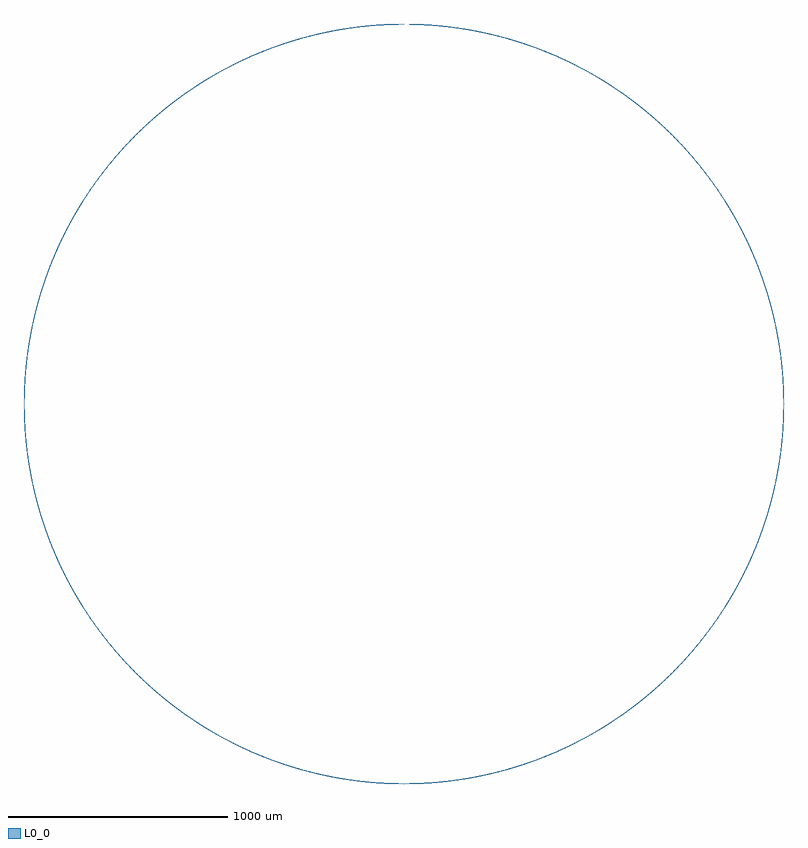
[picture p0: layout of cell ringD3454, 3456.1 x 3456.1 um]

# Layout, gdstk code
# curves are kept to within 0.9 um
import gdstk
lib = gdstk.Library(unit=1e-6, precision=1e-09)
def P(c, l, *ps):  # polygons
    for p in ps: c.add(gdstk.Polygon(p, *l))
L0_0 = (0, 0)

ringd3454 = lib.new_cell('ringD3454')
P(ringd3454, L0_0, [(-1728.049,0),(-1727.585,-40.045),(-1726.236,-79.161),(-1723.843,-120.513),(-1720.55,-160.829),(-1715.357,-209.061),(-1709.011,-255.808),(-1702.104,-298.325),(-1699.972,-298.325),(-1705.576,-264.411),(-1710.598,-229.693),(-1714.995,-194.15),(-1718.44,-160.829),(-1721.737,-120.513),(-1724.134,-79.161),(-1725.485,-40.045),(-1725.95,0)],
  [(-1702.104,-298.325),(-1695.965,-331.452),(-1688.743,-366.474),(-1680.971,-400.616),(-1672.031,-436.428),(-1660.447,-478.616),(-1647.392,-521.783),(-1639.818,-545.117),(-1637.605,-545.117),(-1646.679,-517.062),(-1654.708,-490.76),(-1662.442,-463.886),(-1669.861,-436.428),(-1678.192,-403.207),(-1686.015,-369.131),(-1693.289,-334.178),(-1699.972,-298.325)],
  [(-1639.818,-545.117),(-1629.659,-574.776),(-1619.171,-603.692),(-1607.537,-634.02),(-1595.583,-663.53),(-1578.898,-702.309),(-1560.828,-741.602),(-1557.158,-749.277),(-1554.827,-749.277),(-1574.812,-706.307),(-1593.308,-663.53),(-1605.279,-634.02),(-1616.929,-603.692),(-1627.432,-574.776),(-1637.605,-545.117)],
  [(-1557.158,-749.277),(-1544.178,-775.675),(-1531.006,-801.36),(-1517.662,-826.352),(-1503.198,-852.38),(-1483.68,-885.919),(-1463.94,-918.171),(-1461.46,-918.171),(-1487.124,-875.995),(-1510.46,-835.113),(-1533.367,-792.268),(-1554.827,-749.277)],
  [(-1463.94,-918.171),(-1442.006,-952.249),(-1417.892,-987.795),(-1393.652,-1021.71),(-1367.314,-1056.698),(-1336.904,-1094.918),(-1304.538,-1133.286),(-1272.334,-1169.326),(-1269.481,-1169.326),(-1293.668,-1142.509),(-1317.957,-1114.402),(-1342.311,-1084.944),(-1364.659,-1056.698),(-1391.047,-1021.71),(-1415.332,-987.795),(-1439.488,-952.249),(-1461.46,-918.171)],
  [(-1272.334,-1169.326),(-1248.336,-1194.912),(-1222.524,-1221.308),(-1196.937,-1246.395),(-1169.667,-1272.021),(-1136.994,-1301.308),(-1102.973,-1330.266),(-1084.345,-1345.494),(-1080.995,-1345.494),(-1103.441,-1327.148),(-1126.165,-1307.921),(-1147.229,-1289.484),(-1168.505,-1270.236),(-1193.903,-1246.395),(-1219.553,-1221.308),(-1245.427,-1194.912),(-1269.481,-1169.326)],
  [(-1084.345,-1345.494),(-1060.433,-1364.42),(-1035.078,-1383.753),(-1010.149,-1402.055),(-985.655,-1419.381),(-949.749,-1443.654),(-914.861,-1466.011),(-910.889,-1466.011),(-949.313,-1441.427),(-985.454,-1416.964),(-1010.1,-1399.501),(-1033.372,-1382.407),(-1057.007,-1364.42),(-1080.995,-1345.494)],
  [(-914.861,-1466.011),(-880.998,-1486.608),(-846.572,-1506.478),(-813.285,-1524.706),(-778.262,-1542.877),(-736.352,-1563.313),(-693.89,-1582.618),(-663.525,-1595.587),(-658.037,-1595.587),(-688.644,-1582.618),(-717.802,-1569.608),(-748.036,-1555.426),(-776.472,-1541.427),(-811.809,-1523.113),(-845.375,-1504.742),(-876.871,-1486.608),(-910.889,-1466.011)],
  [(-663.525,-1595.587),(-632.023,-1608.325),(-601.929,-1619.829),(-571.043,-1630.974),(-541.681,-1640.96),(-500.368,-1654.026),(-460.384,-1665.599),(-453.44,-1667.502),(-445.37,-1667.502),(-493.067,-1654.026),(-541.187,-1638.911),(-571.217,-1628.688),(-600.459,-1618.135),(-628.653,-1607.391),(-658.037,-1595.587)],
  [(663.525,-1595.587),(632.023,-1608.325),(601.929,-1619.829),(571.043,-1630.974),(541.681,-1640.96),(500.368,-1654.026),(460.384,-1665.599),(453.44,-1667.502),(445.37,-1667.502),(493.067,-1654.026),(541.187,-1638.911),(571.217,-1628.688),(600.459,-1618.135),(628.653,-1607.391),(658.037,-1595.587)],
  [(914.861,-1466.011),(880.998,-1486.608),(846.572,-1506.478),(813.285,-1524.706),(778.262,-1542.877),(736.352,-1563.313),(693.89,-1582.618),(663.525,-1595.587),(658.037,-1595.587),(688.644,-1582.618),(717.802,-1569.608),(748.036,-1555.426),(776.472,-1541.427),(811.809,-1523.113),(845.375,-1504.742),(876.871,-1486.608),(910.889,-1466.011)],
  [(1084.345,-1345.494),(1060.433,-1364.42),(1035.078,-1383.753),(1010.149,-1402.055),(985.655,-1419.381),(949.749,-1443.654),(914.861,-1466.011),(910.889,-1466.011),(949.313,-1441.427),(985.454,-1416.964),(1010.1,-1399.501),(1033.372,-1382.407),(1057.007,-1364.42),(1080.995,-1345.494)],
  [(1272.334,-1169.326),(1248.336,-1194.912),(1222.524,-1221.308),(1196.937,-1246.395),(1169.667,-1272.021),(1136.994,-1301.308),(1102.973,-1330.266),(1084.345,-1345.494),(1080.995,-1345.494),(1103.441,-1327.148),(1126.165,-1307.921),(1147.229,-1289.484),(1168.505,-1270.236),(1193.903,-1246.395),(1219.553,-1221.308),(1245.427,-1194.912),(1269.481,-1169.326)],
  [(1463.94,-918.171),(1442.006,-952.249),(1417.892,-987.795),(1393.652,-1021.71),(1367.314,-1056.698),(1336.904,-1094.918),(1304.538,-1133.286),(1272.334,-1169.326),(1269.481,-1169.326),(1293.668,-1142.509),(1317.957,-1114.402),(1342.311,-1084.944),(1364.659,-1056.698),(1391.047,-1021.71),(1415.332,-987.795),(1439.488,-952.249),(1461.46,-918.171)],
  [(0,-1725.95),(-26.801,-1725.742),(-56.455,-1725.026),(-85.591,-1723.826),(-114.22,-1722.166),(-142.349,-1720.07),(-169.987,-1717.559),(-197.144,-1714.654),(-226.72,-1710.995),(-226.72,-1713.132),(-199.593,-1716.511),(-155.599,-1721.077),(-110.008,-1724.661),(-66.254,-1727),(-20.14,-1727.932),(0,-1728.049)],
  [(-226.72,-1710.995),(-275.805,-1703.771),(-323.816,-1695.31),(-353.75,-1689.316),(-383.158,-1682.889),(-414.818,-1675.365),(-445.37,-1667.502),(-453.44,-1667.502),(-420.266,-1676.172),(-389.543,-1683.578),(-355.69,-1691.055),(-324.883,-1697.245),(-281.746,-1704.939),(-237.662,-1711.647),(-226.72,-1713.132)],
  [(453.44,-1667.502),(445.37,-1667.502),(414.818,-1675.365),(383.158,-1682.889),(353.75,-1689.316),(323.816,-1695.31),(275.805,-1703.771),(226.72,-1710.995),(226.72,-1713.132),(255.827,-1709.024),(283.855,-1704.589),(312.887,-1699.498),(339.921,-1694.296),(369.411,-1688.11),(398.512,-1681.477),(426.699,-1674.545)],
  [(226.72,-1710.995),(179.093,-1716.633),(129.908,-1721.054),(98.377,-1723.144),(66.224,-1724.679),(33.436,-1725.626),(0,-1725.95),(0,-1728.049),(26.801,-1727.841),(66.254,-1727),(99.433,-1725.306),(125.666,-1723.555),(168.701,-1719.834),(211.425,-1715.09),(226.72,-1713.132)],
  [(1728.049,0),(1727.585,-40.045),(1726.236,-79.161),(1723.843,-120.513),(1720.55,-160.829),(1715.357,-209.061),(1709.011,-255.808),(1702.104,-298.325),(1699.972,-298.325),(1705.576,-264.411),(1710.598,-229.693),(1714.995,-194.15),(1718.44,-160.829),(1721.737,-120.513),(1724.134,-79.161),(1725.485,-40.045),(1725.95,0)],
  [(1728.049,0),(1727.585,40.045),(1726.236,79.161),(1723.843,120.513),(1720.55,160.829),(1715.357,209.061),(1709.011,255.808),(1702.104,298.325),(1699.972,298.325),(1705.576,264.411),(1710.598,229.693),(1714.995,194.15),(1718.44,160.829),(1721.737,120.513),(1724.134,79.161),(1725.485,40.045),(1725.95,0)],
  [(1702.104,298.325),(1695.965,331.452),(1688.743,366.474),(1680.971,400.616),(1672.031,436.428),(1660.447,478.616),(1647.392,521.783),(1639.818,545.117),(1637.605,545.117),(1646.679,517.062),(1654.708,490.76),(1662.442,463.886),(1669.861,436.428),(1678.192,403.207),(1686.015,369.131),(1693.289,334.178),(1699.972,298.325)],
  [(1639.818,545.117),(1629.659,574.776),(1619.171,603.692),(1607.537,634.02),(1595.583,663.53),(1578.898,702.309),(1560.828,741.602),(1557.158,749.277),(1554.827,749.277),(1574.812,706.307),(1593.308,663.53),(1605.279,634.02),(1616.929,603.692),(1627.432,574.776),(1637.605,545.117)],
  [(1557.158,749.277),(1544.178,775.675),(1531.006,801.36),(1517.662,826.352),(1503.198,852.38),(1483.68,885.919),(1463.94,918.171),(1461.46,918.171),(1487.124,875.995),(1510.46,835.113),(1533.367,792.268),(1554.827,749.277)],
  [(1463.94,918.171),(1442.006,952.249),(1417.892,987.795),(1393.652,1021.71),(1367.314,1056.698),(1336.904,1094.918),(1304.538,1133.286),(1272.334,1169.326),(1269.481,1169.326),(1293.668,1142.509),(1317.957,1114.402),(1342.311,1084.944),(1364.659,1056.698),(1391.047,1021.71),(1415.332,987.795),(1439.488,952.249),(1461.46,918.171)],
  [(1272.334,1169.326),(1248.336,1194.912),(1222.524,1221.308),(1196.937,1246.395),(1169.667,1272.021),(1136.994,1301.308),(1102.973,1330.266),(1084.345,1345.494),(1080.995,1345.494),(1103.441,1327.148),(1126.165,1307.921),(1147.229,1289.484),(1168.505,1270.236),(1193.903,1246.395),(1219.553,1221.308),(1245.427,1194.912),(1269.481,1169.326)],
  [(1084.345,1345.494),(1060.433,1364.42),(1035.078,1383.753),(1010.149,1402.055),(985.655,1419.381),(949.749,1443.654),(914.861,1466.011),(910.889,1466.011),(949.313,1441.427),(985.454,1416.964),(1010.1,1399.501),(1033.372,1382.407),(1057.007,1364.42),(1080.995,1345.494)],
  [(914.861,1466.011),(880.998,1486.608),(846.572,1506.478),(813.285,1524.706),(778.262,1542.877),(736.352,1563.313),(693.89,1582.618),(663.525,1595.587),(658.037,1595.587),(688.644,1582.618),(717.802,1569.608),(748.036,1555.426),(776.472,1541.427),(811.809,1523.113),(845.375,1504.742),(876.871,1486.608),(910.889,1466.011)],
  [(663.525,1595.587),(632.023,1608.325),(601.929,1619.829),(571.043,1630.974),(541.681,1640.96),(500.368,1654.026),(460.384,1665.599),(453.44,1667.502),(445.37,1667.502),(493.067,1654.026),(541.187,1638.911),(571.217,1628.688),(600.459,1618.135),(628.653,1607.391),(658.037,1595.587)],
  [(0,1728.049),(-26.801,1727.841),(-66.254,1727),(-99.433,1725.306),(-125.666,1723.555),(-168.701,1719.834),(-211.425,1715.09),(-226.72,1713.132),(-226.72,1710.995),(-179.093,1716.633),(-129.908,1721.054),(-98.377,1723.144),(-66.224,1724.679),(-33.436,1725.626),(0,1725.95)],
  [(-226.72,1713.132),(-255.827,1709.024),(-283.855,1704.589),(-312.887,1699.498),(-339.921,1694.296),(-369.411,1688.11),(-398.512,1681.477),(-426.699,1674.545),(-453.44,1667.502),(-445.37,1667.502),(-414.818,1675.365),(-383.158,1682.889),(-353.75,1689.316),(-323.816,1695.31),(-275.805,1703.771),(-226.72,1710.995)],
  [(453.44,1667.502),(426.699,1674.545),(398.512,1681.477),(369.411,1688.11),(339.921,1694.296),(312.887,1699.498),(283.855,1704.589),(255.827,1709.024),(226.72,1713.132),(226.72,1710.995),(275.805,1703.771),(323.816,1695.31),(353.75,1689.316),(383.158,1682.889),(414.818,1675.365),(445.37,1667.502)],
  [(226.72,1713.132),(196.761,1716.839),(168.701,1719.834),(138.545,1722.549),(110.008,1724.661),(66.254,1727),(26.801,1727.841),(0,1728.049),(0,1725.95),(33.436,1725.626),(66.224,1724.679),(98.377,1723.144),(129.908,1721.054),(179.093,1716.633),(226.72,1710.995)],
  [(1702.104,-298.325),(1695.965,-331.452),(1688.743,-366.474),(1680.971,-400.616),(1672.031,-436.428),(1660.447,-478.616),(1647.392,-521.783),(1639.818,-545.117),(1637.605,-545.117),(1646.679,-517.062),(1654.708,-490.76),(1662.442,-463.886),(1669.861,-436.428),(1678.192,-403.207),(1686.015,-369.131),(1693.289,-334.178),(1699.972,-298.325)],
  [(1639.818,-545.117),(1629.659,-574.776),(1619.171,-603.692),(1607.537,-634.02),(1595.583,-663.53),(1578.898,-702.309),(1560.828,-741.602),(1557.158,-749.277),(1554.827,-749.277),(1574.812,-706.307),(1593.308,-663.53),(1605.279,-634.02),(1616.929,-603.692),(1627.432,-574.776),(1637.605,-545.117)],
  [(1557.158,-749.277),(1544.178,-775.675),(1531.006,-801.36),(1517.662,-826.352),(1503.198,-852.38),(1483.68,-885.919),(1463.94,-918.171),(1461.46,-918.171),(1487.124,-875.995),(1510.46,-835.113),(1533.367,-792.268),(1554.827,-749.277)],
  [(-663.525,1595.587),(-632.023,1608.325),(-601.929,1619.829),(-571.043,1630.974),(-541.681,1640.96),(-500.368,1654.026),(-460.384,1665.599),(-453.44,1667.502),(-445.37,1667.502),(-493.067,1654.026),(-541.187,1638.911),(-571.217,1628.688),(-600.459,1618.135),(-628.653,1607.391),(-658.037,1595.587)],
  [(-914.861,1466.011),(-880.998,1486.608),(-846.572,1506.478),(-813.285,1524.706),(-778.262,1542.877),(-736.352,1563.313),(-693.89,1582.618),(-663.525,1595.587),(-658.037,1595.587),(-688.644,1582.618),(-717.802,1569.608),(-748.036,1555.426),(-776.472,1541.427),(-811.809,1523.113),(-845.375,1504.742),(-876.871,1486.608),(-910.889,1466.011)],
  [(-1084.345,1345.494),(-1060.433,1364.42),(-1035.078,1383.753),(-1010.149,1402.055),(-985.655,1419.381),(-949.749,1443.654),(-914.861,1466.011),(-910.889,1466.011),(-949.313,1441.427),(-985.454,1416.964),(-1010.1,1399.501),(-1033.372,1382.407),(-1057.007,1364.42),(-1080.995,1345.494)],
  [(-1272.334,1169.326),(-1248.336,1194.912),(-1222.524,1221.308),(-1196.937,1246.395),(-1169.667,1272.021),(-1136.994,1301.308),(-1102.973,1330.266),(-1084.345,1345.494),(-1080.995,1345.494),(-1103.441,1327.148),(-1126.165,1307.921),(-1147.229,1289.484),(-1168.505,1270.236),(-1193.903,1246.395),(-1219.553,1221.308),(-1245.427,1194.912),(-1269.481,1169.326)],
  [(-1463.94,918.171),(-1442.006,952.249),(-1417.892,987.795),(-1393.652,1021.71),(-1367.314,1056.698),(-1336.904,1094.918),(-1304.538,1133.286),(-1272.334,1169.326),(-1269.481,1169.326),(-1293.668,1142.509),(-1317.957,1114.402),(-1342.311,1084.944),(-1364.659,1056.698),(-1391.047,1021.71),(-1415.332,987.795),(-1439.488,952.249),(-1461.46,918.171)],
  [(-1557.158,749.277),(-1544.178,775.675),(-1531.006,801.36),(-1517.662,826.352),(-1503.198,852.38),(-1483.68,885.919),(-1463.94,918.171),(-1461.46,918.171),(-1487.124,875.995),(-1510.46,835.113),(-1533.367,792.268),(-1554.827,749.277)],
  [(-1639.818,545.117),(-1629.659,574.776),(-1619.171,603.692),(-1607.537,634.02),(-1595.583,663.53),(-1578.898,702.309),(-1560.828,741.602),(-1557.158,749.277),(-1554.827,749.277),(-1574.812,706.307),(-1593.308,663.53),(-1605.279,634.02),(-1616.929,603.692),(-1627.432,574.776),(-1637.605,545.117)],
  [(-1702.104,298.325),(-1695.965,331.452),(-1688.743,366.474),(-1680.971,400.616),(-1672.031,436.428),(-1660.447,478.616),(-1647.392,521.783),(-1639.818,545.117),(-1637.605,545.117),(-1646.679,517.062),(-1654.708,490.76),(-1662.442,463.886),(-1669.861,436.428),(-1678.192,403.207),(-1686.015,369.131),(-1693.289,334.178),(-1699.972,298.325)],
  [(-1728.049,0),(-1727.585,40.045),(-1726.236,79.161),(-1723.843,120.513),(-1720.55,160.829),(-1715.357,209.061),(-1709.011,255.808),(-1702.104,298.325),(-1699.972,298.325),(-1705.576,264.411),(-1710.598,229.693),(-1714.995,194.15),(-1718.44,160.829),(-1721.737,120.513),(-1724.134,79.161),(-1725.485,40.045),(-1725.95,0)])

lib.write_gds('ringD3454.gds')
